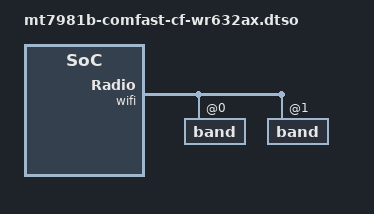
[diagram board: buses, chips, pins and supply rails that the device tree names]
// SPDX-License-Identifier: GPL-2.0-or-later OR MIT

/dts-v1/;
/plugin/;
&{/} {
	model = "COMFAST CF-WR632AX (OpenWrt U-Boot layout)";
};

&chosen {
	rootdisk = <&ubi_rootdisk>;
};

&gmac0 {
	nvmem-cells = <&macaddr_factory_e000 0>;
};

&gmac1 {
	nvmem-cells = <&macaddr_factory_e000 1>;
};

&partitions {
	partition@100000 {
		label = "u-boot-env";
		reg = <0x0100000 0x0080000>;
		read-only;
	};

	partition@180000 {
		label = "factory";
		reg = <0x180000 0x0200000>;
		read-only;

		nvmem-layout {
			compatible = "fixed-layout";
			#address-cells = <1>;
			#size-cells = <1>;

			eeprom_factory_0: eeprom@0 {
				reg = <0x0 0x1000>;
			};

			macaddr_factory_e000: macaddr@e000 {
				compatible = "mac-base";
				reg = <0xe000 0x6>;
				#nvmem-cell-cells = <1>;
			};

			macaddr_factory_4: macaddr@4 {
				compatible = "mac-base";
				reg = <0x4 0x6>;
				#nvmem-cell-cells = <1>;
			};

			macaddr_factory_8000: macaddr@8000 {
				compatible = "mac-base";
				reg = <0x8000 0x6>;
				#nvmem-cell-cells = <1>;
			};
		};
	};

	partition@380000 {
		label = "fip";
		reg = <0x380000 0x0200000>;
		read-only;
	};

	partition@580000 {
		compatible = "linux,ubi";
		label = "ubi";
		reg = <0x580000 0x7a80000>;

		volumes {
			ubi_rootdisk: ubi-volume-fit {
				volname = "fit";
			};
		};
	};
};

&wifi {
	nvmem-cells = <&eeprom_factory_0>;

	band@0 {
		nvmem-cells = <&macaddr_factory_4 0>;
	};

	band@1 {
		nvmem-cells = <&macaddr_factory_8000 0>;
	};
};
